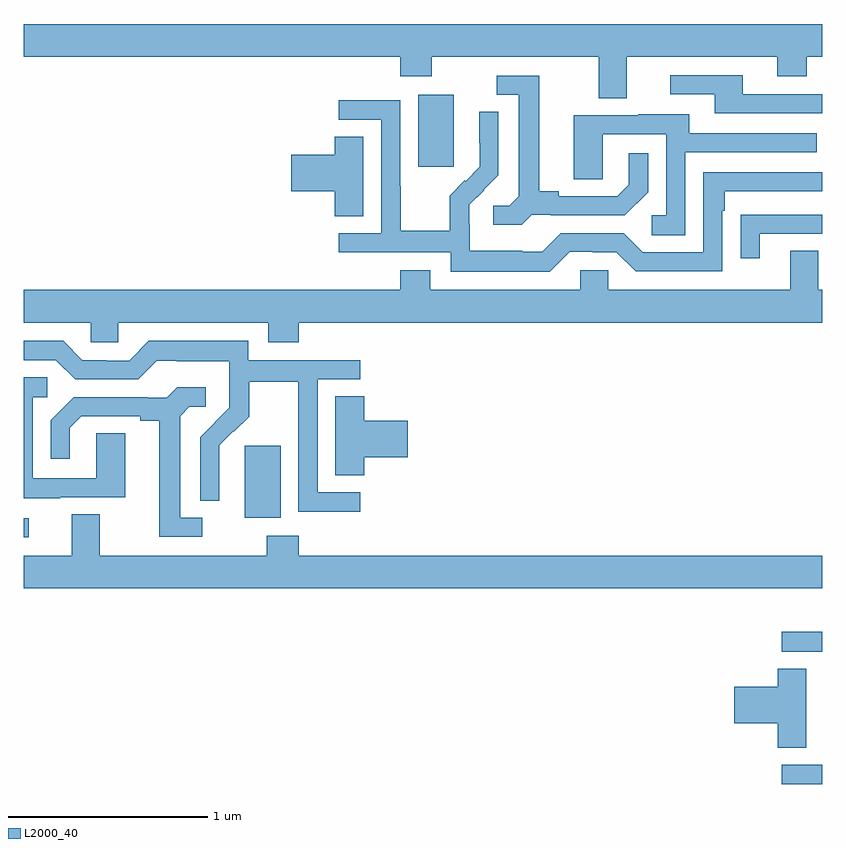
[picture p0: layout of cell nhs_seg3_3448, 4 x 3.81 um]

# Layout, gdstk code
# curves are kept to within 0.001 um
import gdstk
lib = gdstk.Library(unit=1e-6, precision=1e-09)
def R(c, l, rs):  # rectangles x0, y0, x1, y1
    for r in rs: c.add(gdstk.rectangle(r[:2], r[2:], *l))
def P(c, l, *ps):  # polygons
    for p in ps: c.add(gdstk.Polygon(p, *l))
L2000_40 = (2000, 40)

nhs_seg3_3448 = lib.new_cell('nhs_seg3_3448')
R(nhs_seg3_3448, L2000_40, [(292.797,738.564,293,738.66), (292.797,739.227,293,739.326), (289,739.8,289.024,739.896), (290.108,739.898,290.287,740.259), (290.975,741.657,291.154,742.018)])
P(nhs_seg3_3448, L2000_40, [(292.021,742.208),(292.775,742.208),(292.775,742.109),(292.923,742.109),(292.923,742.208),(293,742.208),(293,742.372),(289,742.372),(289,742.208),(290.885,742.208),(290.885,742.109),(291.045,742.109),(291.045,742.208),(291.881,742.208),(291.881,742),(292.021,742)],
  [(293,742.02),(292.603,742.02),(292.603,742.116),(292.239,742.116),(292.239,742.02),(292.463,742.02),(292.463,741.924),(293,741.924)],
  [(291.546,741.417),(291.64,741.417),(291.64,741.414),(292.012,741.414),(292.128,741.53),(292.128,741.724),(292.031,741.724),(292.031,741.567),(291.974,741.51),(291.679,741.51),(291.679,741.533),(291.583,741.533),(291.583,742.113),(291.369,742.113),(291.369,742.017),(291.479,742.017),(291.479,741.509),(291.432,741.462),(291.351,741.462),(291.351,741.365),(291.494,741.365)],
  [(291.735,741.231),(291.851,741.231),(291.851,741.228),(291.969,741.228),(292.065,741.132),(292.5,741.132),(292.5,741.437),(292.513,741.437),(292.513,741.534),(293,741.534),(293,741.63),(292.404,741.63),(292.404,741.228),(292.101,741.228),(292.005,741.324),(291.69,741.324),(291.597,741.231),(291.497,741.231),(291.497,741.235),(291.234,741.235),(291.234,741.369),(291.232,741.369),(291.232,741.466),(291.378,741.614),(291.378,741.932),(291.282,741.932),(291.282,741.778),(291.284,741.778),(291.284,741.656),(291.213,741.585),(291.21,741.588),(291.133,741.511),(291.133,741.337),(290.889,741.337),(290.889,741.56),(290.886,741.56),(290.886,741.99),(290.577,741.99),(290.577,741.891),(290.79,741.891),(290.79,741.324),(290.577,741.324),(290.577,741.228),(291.138,741.228),(291.138,741.131),(291.635,741.131)],
  [(292.314,741.729),(292.973,741.729),(292.973,741.825),(292.333,741.825),(292.333,741.919),(292.079,741.919),(292.079,741.915),(291.755,741.915),(291.755,741.595),(291.9,741.595),(291.9,741.819),(292.218,741.819),(292.218,741.414),(292.146,741.414),(292.146,741.313),(292.314,741.313)],
  [(290.701,741.806),(290.558,741.806),(290.558,741.716),(290.34,741.716),(290.34,741.533),(290.558,741.533),(290.558,741.409),(290.701,741.409)],
  [(292.687,741.321),(293,741.321),(293,741.417),(292.693,741.417),(292.693,741.416),(292.591,741.416),(292.591,741.198),(292.687,741.198)],
  [(290.378,740.876),(293,740.876),(293,741.04),(292.981,741.04),(292.981,741.235),(292.841,741.235),(292.841,741.04),(291.927,741.04),(291.927,741.138),(291.789,741.138),(291.789,741.04),(291.037,741.04),(291.037,741.139),(290.885,741.139),(290.885,741.04),(289,741.04),(289,740.876),(289.335,740.876),(289.335,740.778),(289.473,740.778),(289.473,740.876),(290.225,740.876),(290.225,740.777),(290.378,740.777)],
  [(290.686,740.025),(290.472,740.025),(290.472,740.592),(290.686,740.592),(290.686,740.688),(290.124,740.688),(290.124,740.785),(289.627,740.785),(289.527,740.685),(289.412,740.685),(289.412,740.688),(289.293,740.688),(289.197,740.784),(289,740.784),(289,740.688),(289.161,740.688),(289.257,740.592),(289.572,740.592),(289.665,740.685),(289.765,740.685),(289.765,740.681),(290.028,740.681),(290.028,740.547),(290.03,740.547),(290.03,740.45),(289.884,740.302),(289.884,739.984),(289.98,739.984),(289.979,740.261),(290.049,740.331),(290.052,740.328),(290.129,740.405),(290.129,740.58),(290.374,740.58),(290.374,740.356),(290.376,740.356),(290.376,739.927),(290.686,739.927)],
  [(289.183,740.001),(289.507,740.001),(289.507,740.321),(289.362,740.321),(289.362,740.097),(289.044,740.097),(289.044,740.502),(289.117,740.502),(289.117,740.603),(289,740.603),(289,739.997),(289.183,739.997)],
  [(289.894,739.899),(289.783,739.899),(289.783,740.407),(289.83,740.454),(289.912,740.454),(289.912,740.551),(289.768,740.551),(289.716,740.499),(289.622,740.499),(289.622,740.502),(289.25,740.502),(289.134,740.386),(289.134,740.193),(289.231,740.193),(289.231,740.349),(289.288,740.406),(289.583,740.406),(289.583,740.384),(289.679,740.384),(289.679,739.803),(289.894,739.803)],
  [(290.705,740.201),(290.923,740.201),(290.923,740.384),(290.705,740.384),(290.705,740.507),(290.561,740.507),(290.561,740.11),(290.705,740.11)],
  [(293,739.708),(290.378,739.708),(290.378,739.807),(290.218,739.807),(290.218,739.708),(289.381,739.708),(289.381,739.916),(289.241,739.916),(289.241,739.708),(289,739.708),(289,739.544),(293,739.544)],
  [(292.921,739.142),(292.778,739.142),(292.778,739.052),(292.56,739.052),(292.56,738.869),(292.778,738.869),(292.778,738.745),(292.921,738.745)])

lib.write_gds('nhs_seg3_3448.gds')
